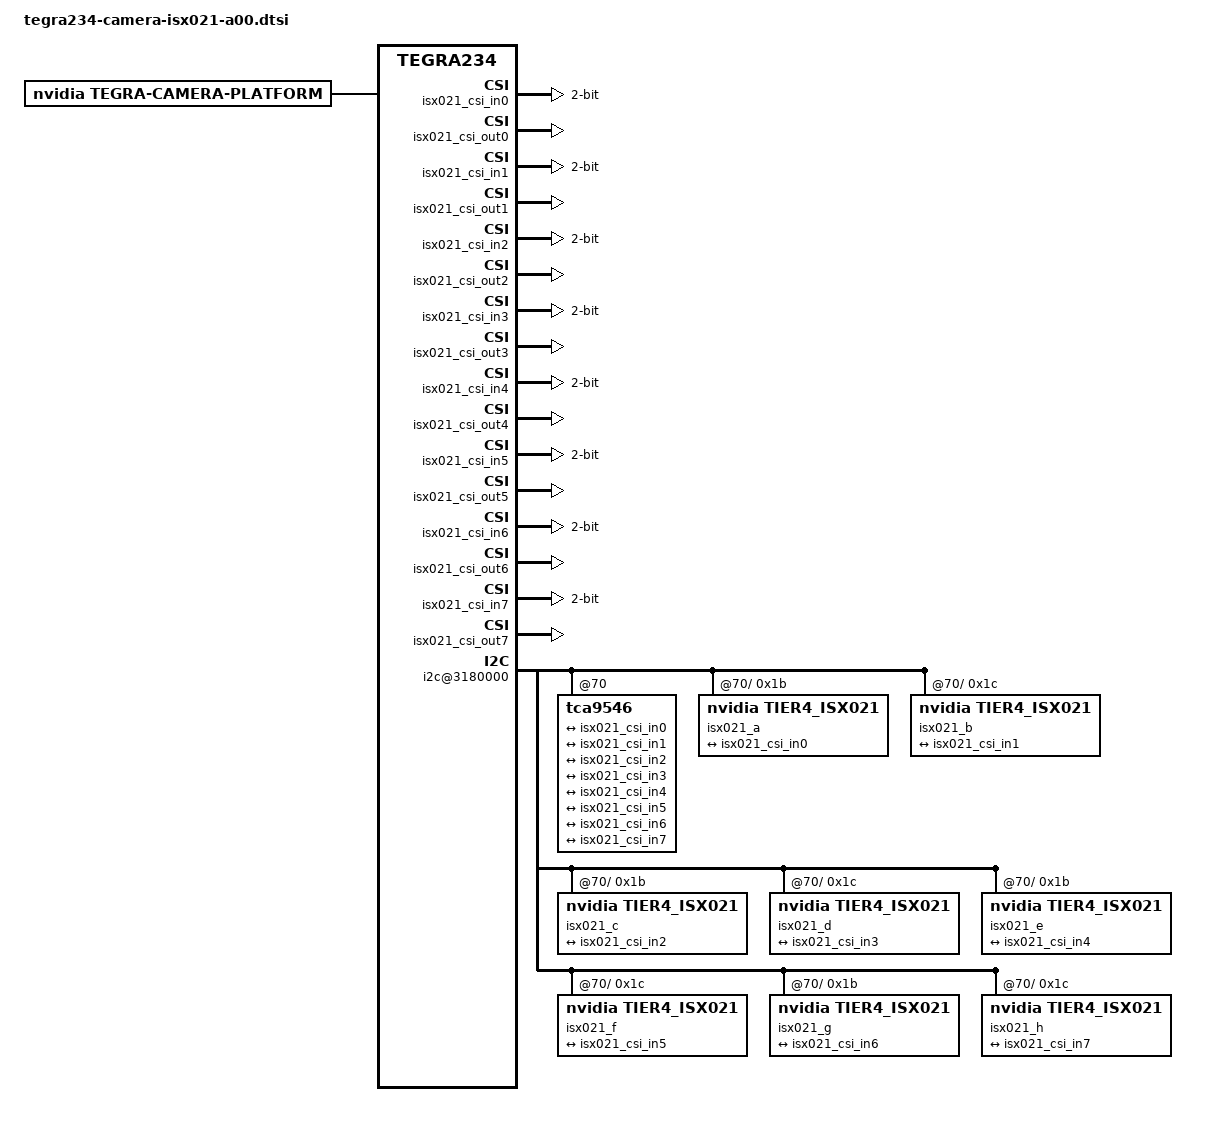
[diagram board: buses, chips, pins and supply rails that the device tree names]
/*
* Copyright (c) 2021, Ability CORPORATION.  All rights reserved.
* Based on Copyright (c) 2018, NVIDIA CORPORATION.  All rights reserved.
*
* This program is free software; you can redistribute it and/or modify
* it under the terms of the GNU General Public License as published by
* the Free Software Foundation; either version 2 of the License, or
* (at your option) any later version. 
*
* This program is distributed in the hope that it will be useful, but WITHOUT
* ANY WARRANTY; without even the implied warranty of MERCHANTABILITY or
* FITNESS FOR A PARTICULAR PURPOSE.  See the GNU General Public License for
* more details.
*
* You should have received a copy of the GNU General Public License 
* along with this program.  If not, see <http://www.gnu.org/licenses/>.
*/


/ {

  tegra-capture-vi {
    num-channels = <8>;
    ports {
      #address-cells = <1>;
      #size-cells = <0>;
      port@0 {
        reg = <0>;
        status = "okay";
        isx021_vi_in0: endpoint {
          /*the port binding to VI and CSI*/
          status = "okay";
          vc-id = <0>; 							/*VI and CSI channel-id,must match the gmsl-link device node’s vc-id” property.*/
          port-index = <0>;						/*use VI stream 0*/
          bus-width = <2>;						/*The bus-width property specifies the number of CSI lanes used.*/
          remote-endpoint = <&isx021_csi_out0>;
        };
      };
      port@1 {
        reg = <1>;
        status = "okay";
        isx021_vi_in1: endpoint {
          status = "okay";
          vc-id = <1>;
          port-index = <0>;
          bus-width = <2>;
          remote-endpoint = <&isx021_csi_out1>;
        };
      };
      port@2 {
        reg = <2>;
        status = "okay";
        isx021_vi_in2: endpoint {
          status = "okay";
          vc-id = <0>;
          port-index = <2>;
          bus-width = <2>;
          remote-endpoint = <&isx021_csi_out2>;
        };
      };
      port@3 {
        reg = <3>;
        status = "okay";
        isx021_vi_in3: endpoint {
          status = "okay";
          vc-id = <1>;
          port-index = <2>;
          bus-width = <2>;
          remote-endpoint = <&isx021_csi_out3>;
        };
      };
      port@4 {
        reg = <4>;
        status = "okay";
        isx021_vi_in4: endpoint {
          status = "okay";
          vc-id = <0>;
          port-index = <4>;
          bus-width = <2>;
          remote-endpoint = <&isx021_csi_out4>;
        };
      };
      port@5 {
        reg = <5>;
        status = "okay";
        isx021_vi_in5: endpoint {
          status = "okay";
          vc-id = <1>;
          port-index = <4>;
          bus-width = <2>;
          remote-endpoint = <&isx021_csi_out5>;
        };
      };
      port@6 {
        reg = <6>;
        status = "okay";
        isx021_vi_in6: endpoint {
          status = "okay";
          vc-id = <0>;
          port-index = <5>;
          bus-width = <2>;
          remote-endpoint = <&isx021_csi_out6>;
        };
      };
      port@7 {
        reg = <7>;
        status = "okay";
        isx021_vi_in7: endpoint {
          status = "okay";
          vc-id = <1>;
          port-index = <5>;
          bus-width = <2>;
          remote-endpoint = <&isx021_csi_out7>;
        };
      };
    };
  };

  host1x@13e00000 {
    nvcsi@15a00000 {
      num-channels = <8>;
      #address-cells = <1>;
      #size-cells = <0>;
      channel@0 {
        reg = <0>;
        status = "okay";
        ports {
          #address-cells = <1>;
          #size-cells = <0>;
          port@0 {
            reg = <0>;
            status = "okay";
            isx021_csi_in0: endpoint@0 {
              status = "okay";
              port-index = <0>;						/*CSI port A(0) */
              bus-width = <2>;
              remote-endpoint = <&isx021_isx021_out0>;
            };
          };
          port@1 {
            reg = <1>;
            status = "okay";
            isx021_csi_out0: endpoint@1 {
              status = "okay";
              remote-endpoint = <&isx021_vi_in0>;
            };
          };
        };
      };
      channel@1{
        reg = <1>;
        status = "okay";
        ports {
          #address-cells = <1>;
          #size-cells = <0>;
          port@0 {
            reg = <0>;
            status = "okay";
            isx021_csi_in1: endpoint@2 {
              status = "okay";
              port-index = <0>;
              bus-width = <2>;
              remote-endpoint = <&isx021_isx021_out1>;
            };
          };
          port@1 {
            reg = <1>;
            status = "okay";
            isx021_csi_out1: endpoint@3 {
              status = "okay";
              remote-endpoint = <&isx021_vi_in1>;
            };
          };
        };
      };
      channel@2 {
        reg = <2>;
        status = "okay";
        ports {
          #address-cells = <1>;
          #size-cells = <0>;
          port@0 {
            reg = <0>;
            status = "okay";
            isx021_csi_in2: endpoint@4 {
              status = "okay";
              port-index = <2>;
              bus-width = <2>;
              remote-endpoint = <&isx021_isx021_out2>;
            };
          };
          port@1 {
            reg = <1>;
            status = "okay";
            isx021_csi_out2: endpoint@5 {
              status = "okay";
              remote-endpoint = <&isx021_vi_in2>;
            };
          };
        };
      };
      channel@3{
        reg = <3>;
        status = "okay";
        ports {
          #address-cells = <1>;
          #size-cells = <0>;
          port@0 {
            reg = <0>;
            status = "okay";
            isx021_csi_in3: endpoint@6 {
              status = "okay";
              port-index = <2>;
              bus-width = <2>;
              remote-endpoint = <&isx021_isx021_out3>;
            };
          };
          port@1 {
            reg = <1>;
            status = "okay";
            isx021_csi_out3: endpoint@7 {
              status = "okay";
              remote-endpoint = <&isx021_vi_in3>;
            };
          };
        };
      };
      channel@4{
        reg = <4>;
        status = "okay";
        ports {
          #address-cells = <1>;
          #size-cells = <0>;
          port@0 {
            reg = <0>;
            status = "okay";
            isx021_csi_in4: endpoint@8 {
              status = "okay";
              port-index = <4>;
              bus-width = <2>;
              remote-endpoint = <&isx021_isx021_out4>;
            };
          };
          port@1 {
            reg = <1>;
            status = "okay";
            isx021_csi_out4: endpoint@9 {
              status = "okay";
              remote-endpoint = <&isx021_vi_in4>;
            };
          };
        };
      };
      channel@5{
        reg = <5>;
        status = "okay";
        ports {
          #address-cells = <1>;
          #size-cells = <0>;
          port@0 {
            reg = <0>;
            status = "okay";
            isx021_csi_in5: endpoint@10 {
              status = "okay";
              port-index = <4>;
              bus-width = <2>;
              remote-endpoint = <&isx021_isx021_out5>;
            };
          };
          port@1 {
            reg = <1>;
            status = "okay";
            isx021_csi_out5: endpoint@11 {
              status = "okay";
              remote-endpoint = <&isx021_vi_in5>;
            };
          };
        };
      };
      channel@6{
        reg = <6>;
        status = "okay";
        ports {
          #address-cells = <1>;
          #size-cells = <0>;
          port@0 {
            reg = <0>;
            status = "okay";
            isx021_csi_in6: endpoint@10 {
              status = "okay";
              port-index = <6>;
              bus-width = <2>;
              remote-endpoint = <&isx021_isx021_out6>;
            };
          };
          port@1 {
            reg = <1>;
            status = "okay";
            isx021_csi_out6: endpoint@11 {
              status = "okay";
              remote-endpoint = <&isx021_vi_in6>;
            };
          };
        };
      };
      channel@7{
        reg = <7>;
        status = "okay";
        ports {
          #address-cells = <1>;
          #size-cells = <0>;
          port@0 {
            reg = <0>;
            status = "okay";
            isx021_csi_in7: endpoint@14 {
              status = "okay";
              port-index = <6>;
              bus-width = <2>;
              remote-endpoint = <&isx021_isx021_out7>;
            };
          };
          port@1 {
            reg = <1>;
            status = "okay";
            isx021_csi_out7: endpoint@15 {
              status = "okay";
              remote-endpoint = <&isx021_vi_in7>;
            };
          };
        };
      };
    };
  };

  i2c@3180000 {
    tca9546@70 {
      status = "okay";
      i2c@0 {
        isx021_a@1b {
          compatible = "nvidia,tier4_isx021";
          reg = <0x1b>;
          status = "okay";

          /* Physical dimensions of sensor */
          physical_w = "15.0";
          physical_h = "12.5";
          reg_mux = <0>;
          sensor_model ="isx021";

          fsync-mode = "false";

          distortion-correction = "false";

          auto-exposure = "true";

          /* Defines number of frames to be dropped by driver internally after applying */
          /* sensor crop settings. Some sensors send corrupt frames after applying */
          /* crop co-ordinates */
          post_crop_frame_drop = "0";

          /* Convert Gain to unit of dB (decibel) befor passing to kernel driver */
          use_decibel_gain = "true";

          /* enable CID_SENSOR_MODE_ID for sensor modes selection */
          use_sensor_mode_id = "true";

          mode0 {
            /*mode ISX021_MODE_1920X1280_CROP_30FPS*/
            mclk_khz = "24000";
            num_lanes = "2";
            tegra_sinterface = "serial_a";
            vc_id = "0";
            discontinuous_clk = "no";
            dpcm_enable = "false";
            cil_settletime = "0";
            dynamic_pixel_bit_depth = "16";
            csi_pixel_bit_depth = "16";
            mode_type = "yuv";
            pixel_phase = "uyvy";

            active_w = "1920";
            active_h = "1280";
            readout_orientation = "0";
            line_length = "2250";
            inherent_gain = "1";

            pix_clk_hz = "74250000";
            serdes_pix_clk_hz =   "180000000";

            gain_factor = "10";
            min_gain_val = "0"; 						/* dB */
            max_gain_val = "300"; 						/* dB */
            step_gain_val = "3"; 						/* 0.3 */
            default_gain = "0";
            min_hdr_ratio = "1";
            max_hdr_ratio = "1";
            framerate_factor = "1000000";
            min_framerate = "30000000";
            max_framerate = "30000000";
            step_framerate = "1";
            default_framerate = "30000000";
            exposure_factor = "1000000";
            min_exp_time = "24"; 						/* us 1 line */
            max_exp_time = "33333";
            step_exp_time = "1";
            default_exp_time = "33333";					/* us */
            embedded_metadata_height = "0";
          };
          ports {
            #address-cells = <1>;
            #size-cells = <0>;
            port@0 {
              reg = <0>;
              isx021_isx021_out0: endpoint {
                vc-id = <0>;
                port-index = <0>;
                bus-width = <2>;
                remote-endpoint = <&isx021_csi_in0>;
              };
            };
          };
          gmsl-link {
            src-csi-port = "b";		/* Port at which sensor is connected to its serializer device. */
            dst-csi-port = "a";		/* Destination CSI port on the Jetson side, connected at deserializer. */
            serdes-csi-link = "a";	/* GMSL link sensor/serializer connected */
            csi-mode = "1x4";		/*  to sensor CSI mode. */
            st-vc = <0>;			/* Sensor source default VC ID: 0 unless overridden by sensor. */
            vc-id = <0>;			/* Destination VC ID, assigned to sensor stream by deserializer. */
            num-lanes = <2>;		/* Number of CSI lanes used. */
            //	streams = "ued-u1","yuv8"; /* Types of streams sensor is streaming. */
            streams = "ued-u1", "yuv8"; /* Types of streams sensor is streaming. */
          };
        };

        isx021_b@1c {
          compatible = "nvidia,tier4_isx021";
          reg = <0x1c>;
          status = "okay";

          /* Physical dimensions of sensor */
          physical_w = "15.0";
          physical_h = "12.5";
          reg_mux = <0>;
          sensor_model ="isx021";

          fsync-mode = "false";

          distortion-correction = "false";

          auto-exposure = "true";

          /* Defines number of frames to be dropped by driver internally after applying */
          /* sensor crop settings. Some sensors send corrupt frames after applying */
          /* crop co-ordinates */
          post_crop_frame_drop = "0";

          /* Convert Gain to unit of dB (decibel) befor passing to kernel driver */
          use_decibel_gain = "true";

          /* enable CID_SENSOR_MODE_ID for sensor modes selection */
          use_sensor_mode_id = "true";

          mode0 {
            /*mode ISX021_MODE_1920X1280_CROP_30FPS*/
            mclk_khz = "24000";
            num_lanes = "2";
            tegra_sinterface = "serial_a";
            vc_id = "1";
            discontinuous_clk = "no";
            dpcm_enable = "false";
            cil_settletime = "0";
            dynamic_pixel_bit_depth = "16";
            csi_pixel_bit_depth = "16";
            mode_type = "yuv";
            pixel_phase = "uyvy";

            active_w = "1920";
            active_h = "1280";
            readout_orientation = "0";
            line_length = "2250";
            inherent_gain = "1";

            pix_clk_hz = "74250000";
            serdes_pix_clk_hz =   "180000000";

            gain_factor = "10";
            min_gain_val = "0"; 							/* dB */
            max_gain_val = "300"; 							/* dB */
            step_gain_val = "3"; 							/* 0.3 */
            default_gain = "0";
            min_hdr_ratio = "1";
            max_hdr_ratio = "1";
            framerate_factor = "1000000";
            min_framerate = "30000000";
            max_framerate = "30000000";
            step_framerate = "1";
            default_framerate = "30000000";
            exposure_factor = "1000000";
            min_exp_time = "24"; 							/* us 1 line */
            max_exp_time = "33333";
            step_exp_time = "1";
            default_exp_time = "33333";						/* us */
            embedded_metadata_height = "0";
          };

          ports {
            #address-cells = <1>;
            #size-cells = <0>;
            port@0 {
              reg = <0>;
              isx021_isx021_out1: endpoint {
                vc-id = <1>;
                port-index = <0>;
                bus-width = <2>;
                remote-endpoint = <&isx021_csi_in1>;
              };
            };
          };
          gmsl-link {
            src-csi-port = "b";
            dst-csi-port = "a";
            serdes-csi-link = "b";
            csi-mode = "1x4";
            st-vc = <0>;
            vc-id = <1>;
            num-lanes = <2>;
            streams = "ued-u1","yuv8";
          };
        };
      };
      i2c@1 {
        isx021_c@1b {
          compatible = "nvidia,tier4_isx021";

          reg = <0x1b>;
          status = "okay";

          /* Physical dimensions of sensor */
          physical_w = "15.0";
          physical_h = "12.5";
          reg_mux = <1>;
          sensor_model ="isx021";

          fsync-mode = "false";

          distortion-correction = "false";

          auto-exposure = "true";

          /* Defines number of frames to be dropped by driver internally after applying */
          /* sensor crop settings. Some sensors send corrupt frames after applying */
          /* crop co-ordinates */
          post_crop_frame_drop = "0";

          /* Convert Gain to unit of dB (decibel) befor passing to kernel driver */
          use_decibel_gain = "true";

          /* enable CID_SENSOR_MODE_ID for sensor modes selection */
          use_sensor_mode_id = "true";

          mode0 {
            /*mode ISX021_MODE_1920X1280_CROP_30FPS*/
            mclk_khz = "24000";
            num_lanes = "2";
            tegra_sinterface = "serial_c";
            vc_id = "0";
            discontinuous_clk = "no";
            dpcm_enable = "false";
            cil_settletime = "0";
            dynamic_pixel_bit_depth = "16";
            csi_pixel_bit_depth = "16";
            mode_type = "yuv";
            pixel_phase = "uyvy";

            active_w = "1920";
            active_h = "1280";
            readout_orientation = "0";
            line_length = "2250";
            inherent_gain = "1";
            pix_clk_hz = "74250000";
            serdes_pix_clk_hz =   "180000000";

            gain_factor = "10";
            min_gain_val = "0"; /* dB */
            max_gain_val = "300"; /* dB */
            step_gain_val = "3"; /* 0.3 */
            default_gain = "0";
            min_hdr_ratio = "1";
            max_hdr_ratio = "1";
            framerate_factor = "1000000";
            min_framerate = "30000000";
            max_framerate = "30000000";
            step_framerate = "1";
            default_framerate = "30000000";
            exposure_factor = "1000000";
            min_exp_time = "24"; /* us 1 line */
            max_exp_time = "33333";
            step_exp_time = "1";
            default_exp_time = "33333";/* us */
            embedded_metadata_height = "0";
          };

          ports {
            #address-cells = <1>;
            #size-cells = <0>;
            port@0 {
              reg = <0>;
              isx021_isx021_out2: endpoint {
                vc-id = <0>;
                port-index = <2>;
                bus-width = <2>;
                remote-endpoint = <&isx021_csi_in2>;
              };
            };
          };

          gmsl-link {
            src-csi-port = "b";				/* Port at which sensor  is connected to its serializer device. */
            dst-csi-port = "a";				/* Destination CSI port on the Jetson side, connected at deserializer. */
            serdes-csi-link = "a";			/* GMSL link sensor/serializer connected */
            csi-mode = "1x4";				/*  to sensor CSI mode. */
            st-vc = <0>;					/* Sensor source default VC ID: 0 unless overridden by sensor. */
            vc-id = <0>;					/* Destination VC ID, assigned to sensor stream by deserializer. */
            num-lanes = <2>;				/* Number of CSI lanes used. */
            streams = "ued-u1","yuv8"; 				/* Types of streams sensor is streaming. */
          };
        };

        isx021_d@1c {
          compatible = "nvidia,tier4_isx021";
          reg = <0x1c>;
        status = "okay";

          /* Physical dimensions of sensor */
          physical_w = "15.0";
          physical_h = "12.5";
          reg_mux = <1>;
          sensor_model ="isx021";

          fsync-mode = "false";

          distortion-correction = "false";

          auto-exposure = "true";

          /* Defines number of frames to be dropped by driver internally after applying */
          /* sensor crop settings. Some sensors send corrupt frames after applying */
          /* crop co-ordinates */
          post_crop_frame_drop = "0";

          /* Convert Gain to unit of dB (decibel) befor passing to kernel driver */
          use_decibel_gain = "true";

          /* enable CID_SENSOR_MODE_ID for sensor modes selection */
          use_sensor_mode_id = "true";

          mode0 {
            /*mode ISX021_MODE_1920X1280_CROP_30FPS*/
            mclk_khz = "24000";
            num_lanes = "2";
            tegra_sinterface = "serial_c";
            vc_id = "1";
            discontinuous_clk = "no";
            dpcm_enable = "false";
            cil_settletime = "0";
            dynamic_pixel_bit_depth = "16";
            csi_pixel_bit_depth = "16";
            mode_type = "yuv";
            pixel_phase = "uyvy";

            active_w = "1920";
            active_h = "1280";
            readout_orientation = "0";
            line_length = "2250";
            inherent_gain = "1";
            pix_clk_hz = "74250000";
            serdes_pix_clk_hz =   "180000000";

            gain_factor = "10";
            min_gain_val = "0"; /* dB */
            max_gain_val = "300"; /* dB */
            step_gain_val = "3"; /* 0.3 */
            default_gain = "0";
            min_hdr_ratio = "1";
            max_hdr_ratio = "1";
            framerate_factor = "1000000";
            min_framerate = "30000000";
            max_framerate = "30000000";
            step_framerate = "1";
            default_framerate = "30000000";
            exposure_factor = "1000000";
            min_exp_time = "24"; /* us 1 line */
            max_exp_time = "33333";
            step_exp_time = "1";
            default_exp_time = "33333";/* us */
            embedded_metadata_height = "0";
          };

          ports {
            #address-cells = <1>;
            #size-cells = <0>;
            port@0 {
              reg = <0>;
              isx021_isx021_out3: endpoint {
                vc-id = <1>;
                port-index = <2>;
                bus-width = <2>;
                remote-endpoint = <&isx021_csi_in3>;
              };
            };
          };
          gmsl-link {
            src-csi-port = "b";
            dst-csi-port = "a";
            serdes-csi-link = "b";
            csi-mode = "1x4";
            st-vc = <0>;
            vc-id = <1>;
            num-lanes = <2>;
            streams = "ued-u1","yuv8";
          };
        };
      };

      i2c@2 {
        isx021_e@1b {
          compatible = "nvidia,tier4_isx021";

          reg = <0x1b>;
        status = "okay";

          /* Physical dimensions of sensor */
          physical_w = "15.0";
          physical_h = "12.5";
          reg_mux = <2>;
          sensor_model ="isx021";

          fsync-mode = "false";

          distortion-correction = "false";

          auto-exposure = "true";

          /* Defines number of frames to be dropped by driver internally after applying */
          /* sensor crop settings. Some sensors send corrupt frames after applying */
          /* crop co-ordinates */
          post_crop_frame_drop = "0";

          /* Convert Gain to unit of dB (decibel) befor passing to kernel driver */
          use_decibel_gain = "true";

          /* enable CID_SENSOR_MODE_ID for sensor modes selection */
          use_sensor_mode_id = "true";

          mode0 {
            /*mode ISX021_MODE_1920X1280_CROP_30FPS*/
            mclk_khz = "24000";
            num_lanes = "2";
            tegra_sinterface = "serial_e";
            vc_id = "0";
            discontinuous_clk = "no";
            dpcm_enable = "false";
            cil_settletime = "0";
            dynamic_pixel_bit_depth = "16";
            csi_pixel_bit_depth = "16";
            mode_type = "yuv";
            pixel_phase = "uyvy";

            active_w = "1920";
            active_h = "1280";
            readout_orientation = "0";
            line_length = "2250";
            inherent_gain = "1";
            pix_clk_hz = "74250000";
            serdes_pix_clk_hz =   "180000000";

            gain_factor = "10";
            min_gain_val = "0"; /* dB */
            max_gain_val = "300"; /* dB */
            step_gain_val = "3"; /* 0.3 */
            default_gain = "0";
            min_hdr_ratio = "1";
            max_hdr_ratio = "1";
            framerate_factor = "1000000";
            min_framerate = "30000000";
            max_framerate = "30000000";
            step_framerate = "1";
            default_framerate = "30000000";
            exposure_factor = "1000000";
            min_exp_time = "24"; /* us 1 line */
            max_exp_time = "33333";
            step_exp_time = "1";
            default_exp_time = "33333";/* us */
            embedded_metadata_height = "0";
          };

          ports {
            #address-cells = <1>;
            #size-cells = <0>;
            port@0 {
              reg = <0>;
              isx021_isx021_out4: endpoint {
                vc-id = <0>;
                port-index = <4>;
                bus-width = <2>;
                remote-endpoint = <&isx021_csi_in4>;
              };
            };
          };
          gmsl-link {
            src-csi-port = "b";
            dst-csi-port = "a";
            serdes-csi-link = "a";
            csi-mode = "1x4";
            st-vc = <0>;
            vc-id = <0>;
            num-lanes = <2>;
            streams = "ued-u1","yuv8";
          };
        };

        isx021_f@1c {
          compatible = "nvidia,tier4_isx021";

          reg = <0x1c>;
        status = "okay";

          /* Physical dimensions of sensor */
          physical_w = "15.0";
          physical_h = "12.5";
          reg_mux = <2>;
          sensor_model ="isx021";

          fsync-mode = "false";

          distortion-correction = "false";

          auto-exposure = "true";

          /* Defines number of frames to be dropped by driver internally after applying */
          /* sensor crop settings. Some sensors send corrupt frames after applying */
          /* crop co-ordinates */
          post_crop_frame_drop = "0";

          /* Convert Gain to unit of dB (decibel) befor passing to kernel driver */
          use_decibel_gain = "true";

          /* enable CID_SENSOR_MODE_ID for sensor modes selection */
          use_sensor_mode_id = "true";


          mode0 {
            /*mode ISX021_MODE_1920X1280_CROP_30FPS*/
            mclk_khz = "24000";
            num_lanes = "2";
            tegra_sinterface = "serial_e";
            vc_id = "1";
            discontinuous_clk = "no";
            dpcm_enable = "false";
            cil_settletime = "0";
            dynamic_pixel_bit_depth = "16";
            csi_pixel_bit_depth = "16";
            mode_type = "yuv";
            pixel_phase = "uyvy";

            active_w = "1920";
            active_h = "1280";
            readout_orientation = "0";
            line_length = "2250";
            inherent_gain = "1";
            pix_clk_hz = "94500000";
            serdes_pix_clk_hz = "833333333";

            gain_factor = "10";
            min_gain_val = "0"; /* dB */
            max_gain_val = "300"; /* dB */
            step_gain_val = "3"; /* 0.3 */
            default_gain = "0";
            min_hdr_ratio = "1";
            max_hdr_ratio = "1";
            framerate_factor = "1000000";
            min_framerate = "30000000";
            max_framerate = "30000000";
            step_framerate = "1";
            default_framerate = "30000000";
            exposure_factor = "1000000";
            min_exp_time = "24"; /* us 1 line */
            max_exp_time = "33333";
            step_exp_time = "1";
            default_exp_time = "33333";/* us */
            embedded_metadata_height = "0";
          };

          ports {
            #address-cells = <1>;
            #size-cells = <0>;
            port@0 {
              reg = <0>;
              isx021_isx021_out5: endpoint {
                vc-id = <1>;
                port-index = <4>;
                bus-width = <2>;
                remote-endpoint = <&isx021_csi_in5>;
              };
            };
          };
          gmsl-link {
            src-csi-port = "b";
            dst-csi-port = "a";
            serdes-csi-link = "b";
            csi-mode = "1x4";
            st-vc = <0>;
            vc-id = <1>;
            num-lanes = <2>;
            streams = "ued-u1","yuv8";
          };
        };
      };

      i2c@3 {
        isx021_g@1b {
          compatible = "nvidia,tier4_isx021";
          reg = <0x1b>;
        status = "okay";

          /* Physical dimensions of sensor */
          physical_w = "15.0";
          physical_h = "12.5";
          reg_mux = <3>;
          sensor_model ="isx021";

          fsync-mode = "false";

          distortion-correction = "false";

          auto-exposure = "true";

          /* Defines number of frames to be dropped by driver internally after applying */
          /* sensor crop settings. Some sensors send corrupt frames after applying */
          /* crop co-ordinates */
          post_crop_frame_drop = "0";

          /* Convert Gain to unit of dB (decibel) befor passing to kernel driver */
          use_decibel_gain = "true";

          /* enable CID_SENSOR_MODE_ID for sensor modes selection */
          use_sensor_mode_id = "true";

          mode0 {
            /*mode ISX021_MODE_1920X1280_CROP_30FPS*/
            mclk_khz = "24000";
            num_lanes = "2";
            tegra_sinterface = "serial_g";
            vc_id = "0";
            discontinuous_clk = "no";
            dpcm_enable = "false";
            cil_settletime = "0";
            dynamic_pixel_bit_depth = "16";
            csi_pixel_bit_depth = "16";
            mode_type = "yuv";
            pixel_phase = "uyvy";

            active_w = "1920";
            active_h = "1280";
            readout_orientation = "0";
            line_length = "2250";
            inherent_gain = "1";
            pix_clk_hz = "74250000";
            serdes_pix_clk_hz =   "180000000";

            gain_factor = "10";
            min_gain_val = "0"; /* dB */
            max_gain_val = "300"; /* dB */
            step_gain_val = "3"; /* 0.3 */
            default_gain = "0";
            min_hdr_ratio = "1";
            max_hdr_ratio = "1";
            framerate_factor = "1000000";
            min_framerate = "30000000";
            max_framerate = "30000000";
            step_framerate = "1";
            default_framerate = "30000000";
            exposure_factor = "1000000";
            min_exp_time = "24"; /* us 1 line */
            max_exp_time = "33333";
            step_exp_time = "1";
            default_exp_time = "33333";/* us */
            embedded_metadata_height = "0";
          };

          ports {
            #address-cells = <1>;
            #size-cells = <0>;
            port@0 {
              reg = <0>;
              isx021_isx021_out6: endpoint {
                vc-id = <0>;
                port-index = <5>;
                bus-width = <2>;
                remote-endpoint = <&isx021_csi_in6>;
              };
            };
          };
          gmsl-link {
            src-csi-port = "b";
            dst-csi-port = "a";
            serdes-csi-link = "a";
            csi-mode = "1x4";
            st-vc = <0>;
            vc-id = <0>;
            num-lanes = <2>;
            streams = "ued-u1","yuv8";
          };
        };
        isx021_h@1c {
          compatible = "nvidia,tier4_isx021";

          reg = <0x1c>;
        status = "okay";

          /* Physical dimensions of sensor */
          physical_w = "15.0";
          physical_h = "12.5";
          reg_mux = <3>;
          sensor_model ="isx021";

          fsync-mode = "false";

          distortion-correction = "false";

          auto-exposure = "true";

          /* Defines number of frames to be dropped by driver internally after applying */
          /* sensor crop settings. Some sensors send corrupt frames after applying */
          /* crop co-ordinates */
          post_crop_frame_drop = "0";

          /* Convert Gain to unit of dB (decibel) befor passing to kernel driver */
          use_decibel_gain = "true";

          /* enable CID_SENSOR_MODE_ID for sensor modes selection */
          use_sensor_mode_id = "true";

          mode0 {
            /*mode ISX021_MODE_1920X1280_CROP_30FPS*/
            mclk_khz = "24000";
            num_lanes = "2";
            tegra_sinterface = "serial_g";
            vc_id = "1";
            discontinuous_clk = "no";
            dpcm_enable = "false";
            cil_settletime = "0";
            dynamic_pixel_bit_depth = "16";
            csi_pixel_bit_depth = "16";
            mode_type = "yuv";
            pixel_phase = "uyvy";

            active_w = "1920";
            active_h = "1280";
            readout_orientation = "0";
            line_length = "2250";
            inherent_gain = "1";
            pix_clk_hz = "94500000";
            serdes_pix_clk_hz =   "180000000";

            gain_factor = "10";
            min_gain_val = "0"; /* dB */
            max_gain_val = "300"; /* dB */
            step_gain_val = "3"; /* 0.3 */
            default_gain = "0";
            min_hdr_ratio = "1";
            max_hdr_ratio = "1";
            framerate_factor = "1000000";
            min_framerate = "30000000";
            max_framerate = "30000000";
            step_framerate = "1";
            default_framerate = "30000000";
            exposure_factor = "1000000";
            min_exp_time = "24"; /* us 1 line */
            max_exp_time = "33333";
            step_exp_time = "1";
            default_exp_time = "33333";/* us */
            embedded_metadata_height = "0";
          };

          ports {
            #address-cells = <1>;
            #size-cells = <0>;
            port@0 {
              reg = <0>;
              isx021_isx021_out7: endpoint {
                vc-id = <0>;
                port-index = <5>;
                bus-width = <2>;
                remote-endpoint = <&isx021_csi_in7>;
              };
            };
          };
          gmsl-link {
            src-csi-port = "b";
            dst-csi-port = "a";
            serdes-csi-link = "b";
            csi-mode = "1x4";
            st-vc = <0>;
            vc-id = <1>;
            num-lanes = <2>;
            streams = "ued-u1","yuv8";
          };
        };
      };
    };
  };

  tegra-camera-platform {
    compatible = "nvidia, tegra-camera-platform";
    num_csi_lanes = <8>;
    max_lane_speed = <4000000>;
    min_bits_per_pixel = <10>;
    vi_peak_byte_per_pixel = <2>;
    vi_bw_margin_pct = <25>;
    isp_peak_byte_per_pixel = <5>;
    isp_bw_margin_pct = <25>;
    modules {
      module0 {
        badge = "isx021_rear";
        position = "rear";
        orientation = "1";
        status = "okay";
        drivernode0 {
          /* Declare PCL support driver (classically known as guid)  */
          status = "okay";
          pcl_id = "v4l2_sensor";
          /* Driver v4l2 device name */
          devname = "isx021 30-001b";
          /* Declare the device-tree hierarchy to driver instance */
          proc-device-tree = "/proc/device-tree/i2c@3180000/tca9546@70/i2c@0/isx021_a@1b";
        };
      };
      module1 {
        badge = "isx021_front";
        position = "front";
        orientation = "1";
        drivernode0 {
          status = "okay";
          /* Declare PCL support driver (classically known as guid)  */
          pcl_id = "v4l2_sensor";
          /* Driver v4l2 device name */
          devname = "isx021 30-001c";
          /* Declare the device-tree hierarchy to driver instance */
          proc-device-tree = "/proc/device-tree/i2c@3180000/tca9546@70/i2c@0/isx021_b@1c";
        };
      };
      module2 {
        badge = "isx021_topright";
        position = "topright";
        orientation = "1";
        status = "okay";
        drivernode0 {
          /* Declare PCL support driver (classically known as guid)  */
        status = "okay";
          pcl_id = "v4l2_sensor";
          /* Driver v4l2 device name */
          devname = "isx021 31-001b";
          /* Declare the device-tree hierarchy to driver instance */
          proc-device-tree = "/proc/device-tree/i2c@3180000/tca9546@70/i2c@1/isx021_c@1b";
        };
      };
      module3 {
        badge = "isx021_bottomright";
        position = "bottomright";
        orientation = "1";
        status = "okay";
        drivernode0 {
          /* Declare PCL support driver (classically known as guid)  */
        status = "okay";
          pcl_id = "v4l2_sensor";
          /* Driver v4l2 device name */
          devname = "isx021 31-001c";
          /* Declare the device-tree hierarchy to driver instance */
          proc-device-tree = "/proc/device-tree/i2c@3180000/tca9546@70/i2c@1/isx021_d@1c";
        };
      };
      module4 {
        badge = "isx021_topleft";
        position = "topleft";
        orientation = "1";
        status = "okay";
        drivernode0 {
          /* Declare PCL support driver (classically known as guid)  */
        status = "okay";
          pcl_id = "v4l2_sensor";
          /* Driver v4l2 device name */
          devname = "isx021 32-001b";
          /* Declare the device-tree hierarchy to driver instance */
          proc-device-tree = "/proc/device-tree/i2c@3180000/tca9546@70/i2c@2/isx021_e@1b";
        };
      };
      module5 {
        badge = "isx021_centerright";
        position = "cnterright";
        orientation = "1";
        status = "okay";
        drivernode0 {
          /* Declare PCL support driver (classically known as guid)  */
        status = "okay";
          pcl_id = "v4l2_sensor";
          /* Driver v4l2 device name */
          devname = "isx021 32-001c";
          /* Declare the device-tree hierarchy to driver instance */
          proc-device-tree = "/proc/device-tree/i2c@3180000/tca9546@70/i2c@2/isx021_f@1c";
        };
      };
      module6 {
        badge = "isx021_cneterleft";
        position = "centerleft";
        orientation = "1";
        status = "okay";
        drivernode0 {
        status = "okay";
          /* Declare PCL support driver (classically known as guid)  */
          pcl_id = "v4l2_sensor";
          /* Driver v4l2 device name */
          devname = "isx021 33-001b";
          /* Declare the device-tree hierarchy to driver instance */
          proc-device-tree = "/proc/device-tree/i2c@3180000/tca9546@70/i2c@3/isx021_g@1b";
        };
      };
      module7 {
        badge = "isx021_bottomleft";
        position = "bottomleft";
        orientation = "1";
        status = "okay";
        drivernode0 {
          /* Declare PCL support driver (classically known as guid)  */
        status = "okay";
          pcl_id = "v4l2_sensor";
          /* Driver v4l2 device name */
          devname = "isx021 33-001c";
          /* Declare the device-tree hierarchy to driver instance */
          proc-device-tree = "/proc/device-tree/i2c@3180000/tca9546@70/i2c@3/isx021_h@1c";
        };
      };
    };
  };
};
